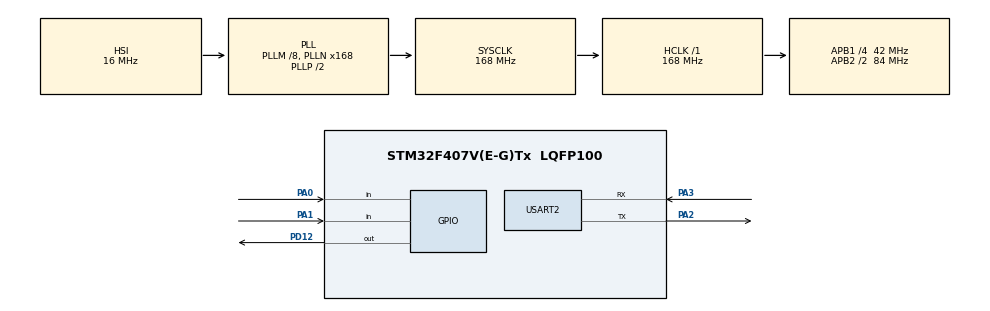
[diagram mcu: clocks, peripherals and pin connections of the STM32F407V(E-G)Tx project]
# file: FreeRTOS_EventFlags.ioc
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FREERTOS.Events01=sysEvents,Dynamic,NULL
FREERTOS.Tasks01=buttonTask,24,128,StartButtonTask,Default,NULL,Dynamic,NULL,NULL;sensorTask,24,128,StartSensorTask,Default,NULL,Dynamic,NULL,NULL;timerTask,24,128,StartTimerTask,Default,NULL,Dynamic,NULL,NULL;actionTask,24,128,StarTactionTask,Default,NULL,Dynamic,NULL,NULL
FREERTOS.configUSE_NEWLIB_REENTRANT=1
Mcu.Family=STM32F4
Mcu.Name=STM32F407V(E-G)Tx
Mcu.Package=LQFP100
NVIC.PriorityGroup=NVIC_PRIORITYGROUP_4
NVIC.TIM1_UP_TIM10_IRQn=true\:15\:0\:false\:false\:true\:false\:false\:true\:true
NVIC.TimeBase=TIM1_UP_TIM10_IRQn
NVIC.TimeBaseIP=TIM1
PA0-WKUP.Signal=GPIO_Input
PA1.Signal=GPIO_Input
PA2.Mode=Asynchronous
PA2.Signal=USART2_TX
PA3.Mode=Asynchronous
PA3.Signal=USART2_RX
PD12.Signal=GPIO_Output
ProjectManager.HeapSize=0x200
ProjectManager.StackSize=0x400
ProjectManager.TargetToolchain=STM32CubeIDE
RCC.48MHZClocksFreq_Value=84000000
RCC.AHBFreq_Value=168000000
RCC.APB1CLKDivider=RCC_HCLK_DIV4
RCC.APB1Freq_Value=42000000
RCC.APB1TimFreq_Value=84000000
RCC.APB2CLKDivider=RCC_HCLK_DIV2
RCC.APB2Freq_Value=84000000
RCC.APB2TimFreq_Value=168000000
RCC.CortexFreq_Value=168000000
RCC.HCLKFreq_Value=168000000
RCC.HSE_VALUE=25000000
RCC.HSI_VALUE=16000000
RCC.LSE_VALUE=32768
RCC.PLLM=8
RCC.PLLN=168
RCC.SYSCLKFreq_VALUE=168000000
RCC.SYSCLKSource=RCC_SYSCLKSOURCE_PLLCLK
RCC.VCOOutputFreq_Value=336000000
USART2.VirtualMode=VM_ASYNC
VP_FREERTOS_VS_CMSIS_V2.Mode=CMSIS_V2
VP_SYS_VS_tim1.Mode=TIM1
board=custom

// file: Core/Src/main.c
/* USER CODE BEGIN Header */
/**
  ******************************************************************************
  * @file           : main.c
  * @brief          : Main program body
  ******************************************************************************
  * @attention
  *
  * Copyright (c) 2026 STMicroelectronics.
  * All rights reserved.
  *
  * This software is licensed under terms that can be found in the LICENSE file
  * in the root directory of this software component.
  * If no LICENSE file comes with this software, it is provided AS-IS.
  *
  ******************************************************************************
  */
/* USER CODE END Header */
#include "main.h"
#include "cmsis_os.h"

/* USER CODE BEGIN Includes */
#include <stdio.h>
/* USER CODE END Includes */

/* USER CODE BEGIN PD */
#define BUTTON_FLAG   (1 << 0)   // bit 0 = 0x01
#define SENSOR_FLAG   (1 << 1)   // bit 1 = 0x02
#define TIMER_FLAG    (1 << 2)   // bit 2 = 0x04
/* USER CODE END PD */

UART_HandleTypeDef huart2;

/* Definitions for buttonTask */
osThreadId_t buttonTaskHandle;
const osThreadAttr_t buttonTask_attributes = {
  .name = "buttonTask",
  .stack_size = 128 * 4,
  .priority = (osPriority_t) osPriorityNormal,
};
/* Definitions for sensorTask */
osThreadId_t sensorTaskHandle;
const osThreadAttr_t sensorTask_attributes = {
  .name = "sensorTask",
  .stack_size = 128 * 4,
  .priority = (osPriority_t) osPriorityNormal,
};
/* Definitions for timerTask */
osThreadId_t timerTaskHandle;
const osThreadAttr_t timerTask_attributes = {
  .name = "timerTask",
  .stack_size = 128 * 4,
  .priority = (osPriority_t) osPriorityNormal,
};
/* Definitions for actionTask */
osThreadId_t actionTaskHandle;
const osThreadAttr_t actionTask_attributes = {
  .name = "actionTask",
  .stack_size = 128 * 4,
  .priority = (osPriority_t) osPriorityNormal,
};
/* Definitions for sysEvents */
osEventFlagsId_t sysEventsHandle;
const osEventFlagsAttr_t sysEvents_attributes = {
  .name = "sysEvents"
};

void SystemClock_Config(void);
static void MX_GPIO_Init(void);
static void MX_USART2_UART_Init(void);
void StartButtonTask(void *argument);
void StartSensorTask(void *argument);
void StartTimerTask(void *argument);
void StarTactionTask(void *argument);

int main(void)
{

  /* MCU Configuration--------------------------------------------------------*/

  /* Reset of all peripherals, Initializes the Flash interface and the Systick. */
  HAL_Init();

  /* Configure the system clock */
  SystemClock_Config();

  /* Initialize all configured peripherals */
  MX_GPIO_Init();
  MX_USART2_UART_Init();

  /* Init scheduler */
  osKernelInitialize();

  /* Create the thread(s) */
  /* creation of buttonTask */
  buttonTaskHandle = osThreadNew(StartButtonTask, NULL, &buttonTask_attributes);

  /* creation of sensorTask */
  sensorTaskHandle = osThreadNew(StartSensorTask, NULL, &sensorTask_attributes);

  /* creation of timerTask */
  timerTaskHandle = osThreadNew(StartTimerTask, NULL, &timerTask_attributes);

  /* creation of actionTask */
  actionTaskHandle = osThreadNew(StarTactionTask, NULL, &actionTask_attributes);

  /* Create the event(s) */
  /* creation of sysEvents */
  sysEventsHandle = osEventFlagsNew(&sysEvents_attributes);

  /* Start scheduler */
  osKernelStart();

  /* We should never get here as control is now taken by the scheduler */

  /* Infinite loop */
  while (1)
  {

  }
}

void SystemClock_Config(void)
{
  RCC_OscInitTypeDef RCC_OscInitStruct = {0};
  RCC_ClkInitTypeDef RCC_ClkInitStruct = {0};

  /** Configure the main internal regulator output voltage
  */
  __HAL_RCC_PWR_CLK_ENABLE();
  __HAL_PWR_VOLTAGESCALING_CONFIG(PWR_REGULATOR_VOLTAGE_SCALE1);

  /** Initializes the RCC Oscillators according to the specified parameters
  * in the RCC_OscInitTypeDef structure.
  */
  RCC_OscInitStruct.OscillatorType = RCC_OSCILLATORTYPE_HSI;
  RCC_OscInitStruct.HSIState = RCC_HSI_ON;
  RCC_OscInitStruct.HSICalibrationValue = RCC_HSICALIBRATION_DEFAULT;
  RCC_OscInitStruct.PLL.PLLState = RCC_PLL_ON;
  RCC_OscInitStruct.PLL.PLLSource = RCC_PLLSOURCE_HSI;
  RCC_OscInitStruct.PLL.PLLM = 8;
  RCC_OscInitStruct.PLL.PLLN = 168;
  RCC_OscInitStruct.PLL.PLLP = RCC_PLLP_DIV2;
  RCC_OscInitStruct.PLL.PLLQ = 4;
  if (HAL_RCC_OscConfig(&RCC_OscInitStruct) != HAL_OK)
  {
    Error_Handler();
  }

  /** Initializes the CPU, AHB and APB buses clocks
  */
  RCC_ClkInitStruct.ClockType = RCC_CLOCKTYPE_HCLK|RCC_CLOCKTYPE_SYSCLK
                              |RCC_CLOCKTYPE_PCLK1|RCC_CLOCKTYPE_PCLK2;
  RCC_ClkInitStruct.SYSCLKSource = RCC_SYSCLKSOURCE_PLLCLK;
  RCC_ClkInitStruct.AHBCLKDivider = RCC_SYSCLK_DIV1;
  RCC_ClkInitStruct.APB1CLKDivider = RCC_HCLK_DIV4;
  RCC_ClkInitStruct.APB2CLKDivider = RCC_HCLK_DIV2;

  if (HAL_RCC_ClockConfig(&RCC_ClkInitStruct, FLASH_LATENCY_5) != HAL_OK)
  {
    Error_Handler();
  }
}

static void MX_USART2_UART_Init(void)
{

  huart2.Instance = USART2;
  huart2.Init.BaudRate = 115200;
  huart2.Init.WordLength = UART_WORDLENGTH_8B;
  huart2.Init.StopBits = UART_STOPBITS_1;
  huart2.Init.Parity = UART_PARITY_NONE;
  huart2.Init.Mode = UART_MODE_TX_RX;
  huart2.Init.HwFlowCtl = UART_HWCONTROL_NONE;
  huart2.Init.OverSampling = UART_OVERSAMPLING_16;
  if (HAL_UART_Init(&huart2) != HAL_OK)
  {
    Error_Handler();
  }

}

static void MX_GPIO_Init(void)
{
  GPIO_InitTypeDef GPIO_InitStruct = {0};

  /* GPIO Ports Clock Enable */
  __HAL_RCC_GPIOA_CLK_ENABLE();
  __HAL_RCC_GPIOD_CLK_ENABLE();

  /*Configure GPIO pin Output Level */
  HAL_GPIO_WritePin(GPIOD, GPIO_PIN_12, GPIO_PIN_RESET);

  /*Configure GPIO pins : PA0 PA1 */
  GPIO_InitStruct.Pin = GPIO_PIN_0|GPIO_PIN_1;
  GPIO_InitStruct.Mode = GPIO_MODE_INPUT;
  GPIO_InitStruct.Pull = GPIO_NOPULL;
  HAL_GPIO_Init(GPIOA, &GPIO_InitStruct);

  /*Configure GPIO pin : PD12 */
  GPIO_InitStruct.Pin = GPIO_PIN_12;
  GPIO_InitStruct.Mode = GPIO_MODE_OUTPUT_PP;
  GPIO_InitStruct.Pull = GPIO_NOPULL;
  GPIO_InitStruct.Speed = GPIO_SPEED_FREQ_LOW;
  HAL_GPIO_Init(GPIOD, &GPIO_InitStruct);

}

/* USER CODE BEGIN 4 */
int _write(int file, char *ptr, int len)
{
    HAL_UART_Transmit(&huart2, (uint8_t*)ptr, len, HAL_MAX_DELAY);
    return len;
}
/* USER CODE END 4 */

void StartButtonTask(void *argument)
{
  /* USER CODE BEGIN 5 */
  /* Infinite loop */
	uint32_t lastState = 0;
	for(;;)
  {
		uint32_t state = HAL_GPIO_ReadPin(GPIOA, GPIO_PIN_0);
			      if(state != lastState)
			      {
			    	osEventFlagsSet(sysEventsHandle, BUTTON_FLAG);
			        lastState = state;
			      }
			      osDelay(200);
  }
  /* USER CODE END 5 */
}

void StartSensorTask(void *argument)
{
  /* USER CODE BEGIN StartSensorTask */
  /* Infinite loop */
	uint32_t lastState = 0;
	for(;;)
  {
		uint32_t state = HAL_GPIO_ReadPin(GPIOA, GPIO_PIN_1);
					      if(state != lastState)
					      {
					    	osEventFlagsSet(sysEventsHandle, SENSOR_FLAG);
					        lastState = state;
					      }
					      osDelay(50);
  }
  /* USER CODE END StartSensorTask */
}

void StartTimerTask(void *argument)
{
  /* USER CODE BEGIN StartTimerTask */
  /* Infinite loop */
  for(;;)
  {
    osDelay(3000);
    osEventFlagsSet(sysEventsHandle, TIMER_FLAG);
  }
  /* USER CODE END StartTimerTask */
}

void StarTactionTask(void *argument)
{
  /* USER CODE BEGIN StarTactionTask */
  /* Infinite loop */
  for(;;)
  {
	  // Wait for ALL flags (blocks until all set)
	osEventFlagsWait(sysEventsHandle, BUTTON_FLAG | SENSOR_FLAG | TIMER_FLAG, osFlagsWaitAll, osWaitForever);
	printf("All conditions met\r\n");
	HAL_GPIO_TogglePin(GPIOD, GPIO_PIN_12);
    osDelay(1);
  }
  /* USER CODE END StarTactionTask */
}

void HAL_TIM_PeriodElapsedCallback(TIM_HandleTypeDef *htim)
{
  if (htim->Instance == TIM1)
  {
    HAL_IncTick();
  }
}

void Error_Handler(void)
{
  __disable_irq();
  while (1)
  {
  }
}
